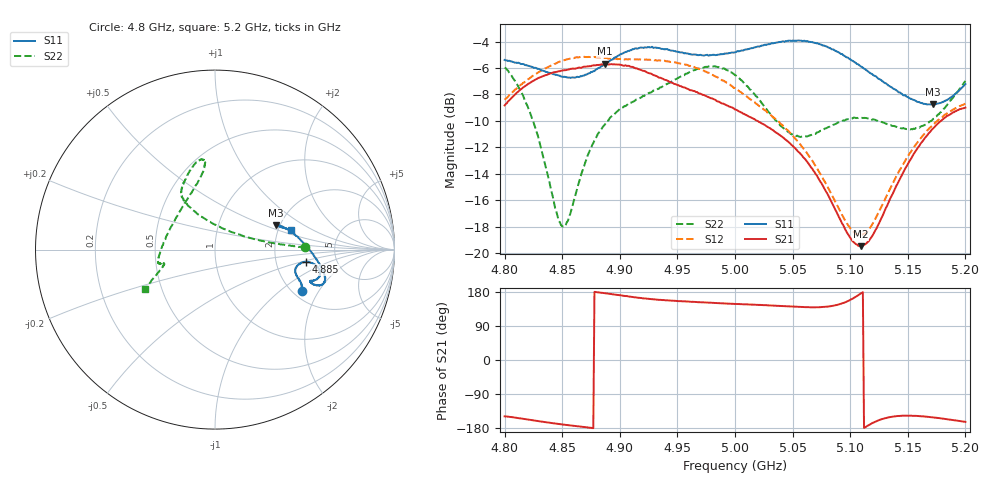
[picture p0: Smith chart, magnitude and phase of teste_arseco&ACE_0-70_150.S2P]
! Network Analyzer HP8722D
! Hewlett-Packard
! Data name: Linha & Wilkinson
! Saver's name: Rodrigo Anjos
! Comments: Teste da utilização de aquisição
! continua pelo VNA HP8722D
! Time and date: 8/5/2025 14:00
!  Frequency  S11  S21  S12  S22
# HZ  S  MA R 50
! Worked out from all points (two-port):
!   401 points, 4.8 GHz to 5.2 GHz, reference 50 ohm
!   highest |S21| = -5.68 dB at 4.887 GHz (marker M1); lowest = -19.5 dB at 5.109 GHz (marker M2)
!   |S21| within 3 dB of the highest: 4.802 GHz to 4.989 GHz (187 MHz wide, 3.82 % of centre)
!   lowest |S11| = -8.8 dB at 5.172 GHz (marker M3), VSWR 2.15, Z = 95.1 + j29.8 ohm
!   |S11| at or under -10 dB: nowhere
!   |S22| runs from -18.0 to -5.9 dB; largest |S21 - S12| = 1.1
!   S11 on the Smith chart (normalised r, x): 4.8 GHz: 2.23, -1.45; 4.885 GHz: 2.98, -0.56; 5.2 GHz: 2.33, +0.64
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4.8e9  0.5376 -25.5  0.3617 -148.7  0.3803 10.8  0.5028 1.4
4.812e9  0.5248 -22.5  0.409 -153.3  0.4251 9.4  0.4255 2.7
4.823e9  0.5071 -20.4  0.4435 -158.4  0.4625 7.9  0.3307 6.1
4.849e9  0.4653 -16.1  0.4893 -169.7  0.5323 3.5  0.1274 57.6
4.855e9  0.461 -14.5  0.4942 -172.1  0.5416 2.4  0.1324 84.4
4.867e9  0.4666 -11.1  0.5037 -176.2  0.5509 0.8  0.2014 113.2
4.885e9  0.5114 -7.7  0.5163 177.2  0.5471 -0.5  0.2988 121.4
4.887e9  0.5177 -7.6  0.5201 176.4  0.5469 -0.4  0.306 121.9
4.912e9  0.5907 -10.6  0.5039 165.9  0.5403 -0.1  0.3743 119.9
4.934e9  0.5969 -15.5  0.4603 158.8  0.5359 -1.2  0.4187 113.7
4.976e9  0.5624 -18.4  0.3902 151.6  0.4818 -4.9  0.5059 99.4
5e9  0.5751 -19.3  0.3491 148.0  0.4217 -4.9  0.471 97.2
5.019e9  0.6027 -19.5  0.3166 145.5  0.3658 -2.5  0.3903 104.0
5.046e9  0.6354 -17.1  0.264 141.5  0.2909 3.7  0.2872 134.2
5.067e9  0.6281 -13.3  0.2087 139.1  0.2238 9.6  0.2811 164.3
5.098e9  0.5485 -2.9  0.1179 155.6  0.1277 36.4  0.3208 -170.5
5.109e9  0.509 2.2  0.1061 175.0  0.1168 58.0  0.3251 -167.1
5.118e9  0.4777 6.8  0.1141 -168.5  0.126 75.9  0.322 -166.0
5.134e9  0.4284 14.3  0.1574 -151.0  0.1726 94.6  0.3048 -165.6
5.154e9  0.381 20.7  0.2323 -147.3  0.2468 101.9  0.2937 -164.3
5.172e9  0.3648 21.9  0.2958 -151.4  0.3065 102.9  0.3216 -160.0
5.2e9  0.4355 14.8  0.3548 -163.2  0.3673 103.2  0.4473 -150.4
